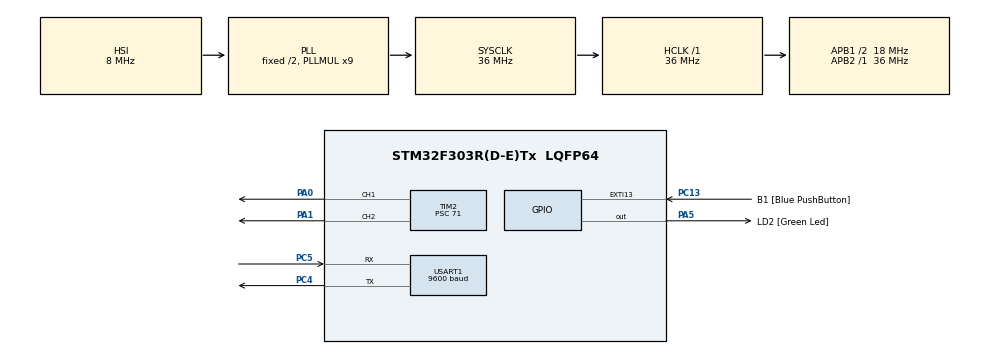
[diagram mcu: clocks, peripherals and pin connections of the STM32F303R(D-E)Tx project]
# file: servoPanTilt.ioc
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Mcu.Family=STM32F3
Mcu.Name=STM32F303R(D-E)Tx
Mcu.Package=LQFP64
NVIC.PriorityGroup=NVIC_PRIORITYGROUP_0
NVIC.USART1_IRQn=true\:0\:0\:false\:false\:true\:true\:true\:true
PA0.Signal=S_TIM2_CH1_ETR
PA1.Signal=S_TIM2_CH2
PA13.GPIO_Label=TMS
PA13.Mode=Serial_Wire
PA13.Signal=SYS_JTMS-SWDIO
PA14.GPIO_Label=TCK
PA14.Mode=Serial_Wire
PA14.Signal=SYS_JTCK-SWCLK
PA2.GPIO_Label=USART_TX
PA2.GPIO_Mode=GPIO_MODE_AF_PP
PA2.GPIO_PuPd=GPIO_NOPULL
PA2.GPIO_Speed=GPIO_SPEED_FREQ_LOW
PA2.Signal=USART2_TX
PA3.GPIO_Label=USART_RX
PA3.GPIO_Mode=GPIO_MODE_AF_PP
PA3.GPIO_PuPd=GPIO_NOPULL
PA3.GPIO_Speed=GPIO_SPEED_FREQ_LOW
PA3.Signal=USART2_RX
PA5.GPIO_Label=LD2 [Green Led]
PA5.GPIO_Mode=GPIO_MODE_OUTPUT_PP
PA5.GPIO_PuPd=GPIO_NOPULL
PA5.GPIO_Speed=GPIO_SPEED_FREQ_LOW
PA5.Signal=GPIO_Output
PB3.GPIO_Label=SWO
PB3.Signal=SYS_JTDO-TRACESWO
PC13.GPIO_Label=B1 [Blue PushButton]
PC13.GPIO_ModeDefaultEXTI=GPIO_MODE_IT_FALLING
PC13.Signal=GPXTI13
PC14-OSC32_IN.Mode=LSE-External-Oscillator
PC14-OSC32_IN.Signal=RCC_OSC32_IN
PC15-OSC32_OUT.Mode=LSE-External-Oscillator
PC15-OSC32_OUT.Signal=RCC_OSC32_OUT
PC4.Mode=Asynchronous
PC4.Signal=USART1_TX
PC5.Mode=Asynchronous
PC5.Signal=USART1_RX
PF0-OSC_IN.Mode=HSE-External-Clock-Source
PF0-OSC_IN.Signal=RCC_OSC_IN
PF1-OSC_OUT.Signal=RCC_OSC_OUT
ProjectManager.HeapSize=0x200
ProjectManager.StackSize=0x400
ProjectManager.TargetToolchain=STM32CubeIDE
RCC.AHBFreq_Value=36000000
RCC.APB1CLKDivider=RCC_HCLK_DIV2
RCC.APB1Freq_Value=18000000
RCC.APB1TimFreq_Value=36000000
RCC.APB2Freq_Value=36000000
RCC.APB2TimFreq_Value=36000000
RCC.CortexFreq_Value=36000000
RCC.HCLKFreq_Value=36000000
RCC.HSE_VALUE=8000000
RCC.HSI_VALUE=8000000
RCC.PLLM=8
RCC.PLLMUL=RCC_PLL_MUL9
RCC.PLLN=336
RCC.PLLP=RCC_PLLP_DIV4
RCC.PLLQ=7
RCC.RCC_PLLsource_Clock_Source_FROM_HSE=RCC_HSE_PREDIV_DIV2
RCC.SYSCLKFreq_VALUE=36000000
RCC.SYSCLKSourceVirtual=RCC_SYSCLKSOURCE_PLLCLK
RCC.USBFreq_Value=36000000
SH.S_TIM2_CH1_ETR.0=TIM2_CH1,PWM Generation1 CH1
SH.S_TIM2_CH2.0=TIM2_CH2,PWM Generation2 CH2
TIM2.Channel-PWM\ Generation1\ CH1=TIM_CHANNEL_1
TIM2.Channel-PWM\ Generation2\ CH2=TIM_CHANNEL_2
TIM2.Period=19999
TIM2.Prescaler=71
USART1.BaudRate=9600
USART1.VirtualMode-Asynchronous=VM_ASYNC
VP_TIM2_VS_ClockSourceINT.Mode=Internal
board=NUCLEO-F303RE

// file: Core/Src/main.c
/* USER CODE BEGIN Header */
/**
  ******************************************************************************
  * @file           : main.c
  * @brief          : Main program body
  ******************************************************************************
  * @attention
  *
  * Copyright (c) 2026 STMicroelectronics.
  * All rights reserved.
  *
  * This software is licensed under terms that can be found in the LICENSE file
  * in the root directory of this software component.
  * If no LICENSE file comes with this software, it is provided AS-IS.
  *
  ******************************************************************************
  */
/* USER CODE END Header */
#include "main.h"

TIM_HandleTypeDef htim2;

UART_HandleTypeDef huart1;

/* USER CODE BEGIN PV */
volatile uint8_t rx_data;
volatile uint8_t rx_buffer[7];
volatile uint8_t event = 0;
volatile uint8_t btn_id = 0;
volatile uint8_t index = 0;
volatile uint8_t angle1 = 90;
volatile uint8_t angle2 = 90;
/* USER CODE END PV */

void SystemClock_Config(void);
static void MX_GPIO_Init(void);
static void MX_TIM2_Init(void);
static void MX_USART1_UART_Init(void);

/* USER CODE BEGIN 0 */
void turnServo1(uint8_t angle) {
    if (angle > 180) angle = 180;
    uint16_t pulse = 1000 + ((uint32_t)angle * 1000) / 180;
    __HAL_TIM_SET_COMPARE(&htim2, TIM_CHANNEL_1, pulse);
}

void turnServo2(uint8_t angle) {
    if (angle > 180) angle = 180;
    uint16_t pulse = 1000 + ((uint32_t)angle * 1000) / 180;
    __HAL_TIM_SET_COMPARE(&htim2, TIM_CHANNEL_2, pulse);
}
/* USER CODE END 0 */

int main(void)
{

  /* MCU Configuration--------------------------------------------------------*/

  /* Reset of all peripherals, Initializes the Flash interface and the Systick. */
  HAL_Init();

  /* Configure the system clock */
  SystemClock_Config();

  /* Initialize all configured peripherals */
  MX_GPIO_Init();
  MX_TIM2_Init();
  MX_USART1_UART_Init();

  /* USER CODE BEGIN 2 */
  HAL_TIM_PWM_Start(&htim2, TIM_CHANNEL_1);
  HAL_TIM_PWM_Start(&htim2, TIM_CHANNEL_2);

  turnServo1(angle1);
  turnServo2(angle2);

  HAL_UART_Receive_IT(&huart1, (uint8_t*)&rx_data, 1);
  /* USER CODE END 2 */

  /* Infinite loop */
  while (1)
  {

    /* USER CODE BEGIN 3 */
    if (event == 0x01) {
        event = 0x00;
        switch (btn_id) {
            case 0x02:
                if (angle1 <= 160) angle1 += 30;
                else angle1 = 180;
                turnServo1(angle1);
                break;
            case 0x01:
                if (angle1 >= 20) angle1 -= 30;
                else angle1 = 0;
                turnServo1(angle1);
                break;
            case 0x03:
                if (angle2 <= 160) angle2 += 30;
                else angle2 = 180;
                turnServo2(angle2);
                break;
            case 0x04:
                if (angle2 >= 20) angle2 -= 30;
                else angle2 = 0;
                turnServo2(angle2);
                break;
        }
    }
  }
  /* USER CODE END 3 */
}

void SystemClock_Config(void)
{
  RCC_OscInitTypeDef RCC_OscInitStruct = {0};
  RCC_ClkInitTypeDef RCC_ClkInitStruct = {0};
  RCC_PeriphCLKInitTypeDef PeriphClkInit = {0};

  /** Initializes the RCC Oscillators according to the specified parameters
  * in the RCC_OscInitTypeDef structure.
  */
  RCC_OscInitStruct.OscillatorType = RCC_OSCILLATORTYPE_HSI;
  RCC_OscInitStruct.HSIState = RCC_HSI_ON;
  RCC_OscInitStruct.HSICalibrationValue = RCC_HSICALIBRATION_DEFAULT;
  RCC_OscInitStruct.PLL.PLLState = RCC_PLL_ON;
  RCC_OscInitStruct.PLL.PLLSource = RCC_PLLSOURCE_HSI;
  RCC_OscInitStruct.PLL.PLLMUL = RCC_PLL_MUL9;
  RCC_OscInitStruct.PLL.PREDIV = RCC_PREDIV_DIV1;
  if (HAL_RCC_OscConfig(&RCC_OscInitStruct) != HAL_OK)
  {
    Error_Handler();
  }

  /** Initializes the CPU, AHB and APB buses clocks
  */
  RCC_ClkInitStruct.ClockType = RCC_CLOCKTYPE_HCLK|RCC_CLOCKTYPE_SYSCLK
                              |RCC_CLOCKTYPE_PCLK1|RCC_CLOCKTYPE_PCLK2;
  RCC_ClkInitStruct.SYSCLKSource = RCC_SYSCLKSOURCE_PLLCLK;
  RCC_ClkInitStruct.AHBCLKDivider = RCC_SYSCLK_DIV1;
  RCC_ClkInitStruct.APB1CLKDivider = RCC_HCLK_DIV2;
  RCC_ClkInitStruct.APB2CLKDivider = RCC_HCLK_DIV1;

  if (HAL_RCC_ClockConfig(&RCC_ClkInitStruct, FLASH_LATENCY_1) != HAL_OK)
  {
    Error_Handler();
  }
  PeriphClkInit.PeriphClockSelection = RCC_PERIPHCLK_USART1|RCC_PERIPHCLK_TIM2;
  PeriphClkInit.Usart1ClockSelection = RCC_USART1CLKSOURCE_PCLK2;
  PeriphClkInit.Tim2ClockSelection = RCC_TIM2CLK_HCLK;
  if (HAL_RCCEx_PeriphCLKConfig(&PeriphClkInit) != HAL_OK)
  {
    Error_Handler();
  }
}

static void MX_TIM2_Init(void)
{

  TIM_ClockConfigTypeDef sClockSourceConfig = {0};
  TIM_MasterConfigTypeDef sMasterConfig = {0};
  TIM_OC_InitTypeDef sConfigOC = {0};

  htim2.Instance = TIM2;
  htim2.Init.Prescaler = 71;
  htim2.Init.CounterMode = TIM_COUNTERMODE_UP;
  htim2.Init.Period = 19999;
  htim2.Init.ClockDivision = TIM_CLOCKDIVISION_DIV1;
  htim2.Init.AutoReloadPreload = TIM_AUTORELOAD_PRELOAD_DISABLE;
  if (HAL_TIM_Base_Init(&htim2) != HAL_OK)
  {
    Error_Handler();
  }
  sClockSourceConfig.ClockSource = TIM_CLOCKSOURCE_INTERNAL;
  if (HAL_TIM_ConfigClockSource(&htim2, &sClockSourceConfig) != HAL_OK)
  {
    Error_Handler();
  }
  if (HAL_TIM_PWM_Init(&htim2) != HAL_OK)
  {
    Error_Handler();
  }
  sMasterConfig.MasterOutputTrigger = TIM_TRGO_RESET;
  sMasterConfig.MasterSlaveMode = TIM_MASTERSLAVEMODE_DISABLE;
  if (HAL_TIMEx_MasterConfigSynchronization(&htim2, &sMasterConfig) != HAL_OK)
  {
    Error_Handler();
  }
  sConfigOC.OCMode = TIM_OCMODE_PWM1;
  sConfigOC.Pulse = 0;
  sConfigOC.OCPolarity = TIM_OCPOLARITY_HIGH;
  sConfigOC.OCFastMode = TIM_OCFAST_DISABLE;
  if (HAL_TIM_PWM_ConfigChannel(&htim2, &sConfigOC, TIM_CHANNEL_1) != HAL_OK)
  {
    Error_Handler();
  }
  if (HAL_TIM_PWM_ConfigChannel(&htim2, &sConfigOC, TIM_CHANNEL_2) != HAL_OK)
  {
    Error_Handler();
  }
  HAL_TIM_MspPostInit(&htim2);

}

static void MX_USART1_UART_Init(void)
{

  huart1.Instance = USART1;
  huart1.Init.BaudRate = 9600;
  huart1.Init.WordLength = UART_WORDLENGTH_8B;
  huart1.Init.StopBits = UART_STOPBITS_1;
  huart1.Init.Parity = UART_PARITY_NONE;
  huart1.Init.Mode = UART_MODE_TX_RX;
  huart1.Init.HwFlowCtl = UART_HWCONTROL_NONE;
  huart1.Init.OverSampling = UART_OVERSAMPLING_16;
  huart1.Init.OneBitSampling = UART_ONE_BIT_SAMPLE_DISABLE;
  huart1.AdvancedInit.AdvFeatureInit = UART_ADVFEATURE_NO_INIT;
  if (HAL_UART_Init(&huart1) != HAL_OK)
  {
    Error_Handler();
  }

}

static void MX_GPIO_Init(void)
{
  GPIO_InitTypeDef GPIO_InitStruct = {0};

  /* GPIO Ports Clock Enable */
  __HAL_RCC_GPIOC_CLK_ENABLE();
  __HAL_RCC_GPIOF_CLK_ENABLE();
  __HAL_RCC_GPIOA_CLK_ENABLE();
  __HAL_RCC_GPIOB_CLK_ENABLE();

  /*Configure GPIO pin Output Level */
  HAL_GPIO_WritePin(LD2_GPIO_Port, LD2_Pin, GPIO_PIN_RESET);

  /*Configure GPIO pin : B1_Pin */
  GPIO_InitStruct.Pin = B1_Pin;
  GPIO_InitStruct.Mode = GPIO_MODE_IT_FALLING;
  GPIO_InitStruct.Pull = GPIO_NOPULL;
  HAL_GPIO_Init(B1_GPIO_Port, &GPIO_InitStruct);

  /*Configure GPIO pins : USART_TX_Pin USART_RX_Pin */
  GPIO_InitStruct.Pin = USART_TX_Pin|USART_RX_Pin;
  GPIO_InitStruct.Mode = GPIO_MODE_AF_PP;
  GPIO_InitStruct.Pull = GPIO_NOPULL;
  GPIO_InitStruct.Speed = GPIO_SPEED_FREQ_LOW;
  GPIO_InitStruct.Alternate = GPIO_AF7_USART2;
  HAL_GPIO_Init(GPIOA, &GPIO_InitStruct);

  /*Configure GPIO pin : LD2_Pin */
  GPIO_InitStruct.Pin = LD2_Pin;
  GPIO_InitStruct.Mode = GPIO_MODE_OUTPUT_PP;
  GPIO_InitStruct.Pull = GPIO_NOPULL;
  GPIO_InitStruct.Speed = GPIO_SPEED_FREQ_LOW;
  HAL_GPIO_Init(LD2_GPIO_Port, &GPIO_InitStruct);

}

/* USER CODE BEGIN 4 */
void HAL_UART_RxCpltCallback(UART_HandleTypeDef *huart)
{
    if (huart->Instance == USART1) {
        if (index == 0) {
            if (rx_data == 0x65) {
                rx_buffer[index++] = rx_data;
            }
        } else {
            rx_buffer[index++] = rx_data;
            if (index >= 7) {
                if ((rx_buffer[1] == 0x00) && (rx_buffer[3] == 0x01) &&
                    (rx_buffer[4] == 0xFF) && (rx_buffer[5] == 0xFF) && (rx_buffer[6] == 0xFF)) {
                    event = 0x01;
                    btn_id = rx_buffer[2];
                } else {
                    event = 0x00;
                }
                index = 0;
            }
        }
        HAL_UART_Receive_IT(&huart1, (uint8_t*)&rx_data, 1);
    }
}
/* USER CODE END 4 */

void Error_Handler(void)
{
  __disable_irq();
  while (1)
  {
  }
}
